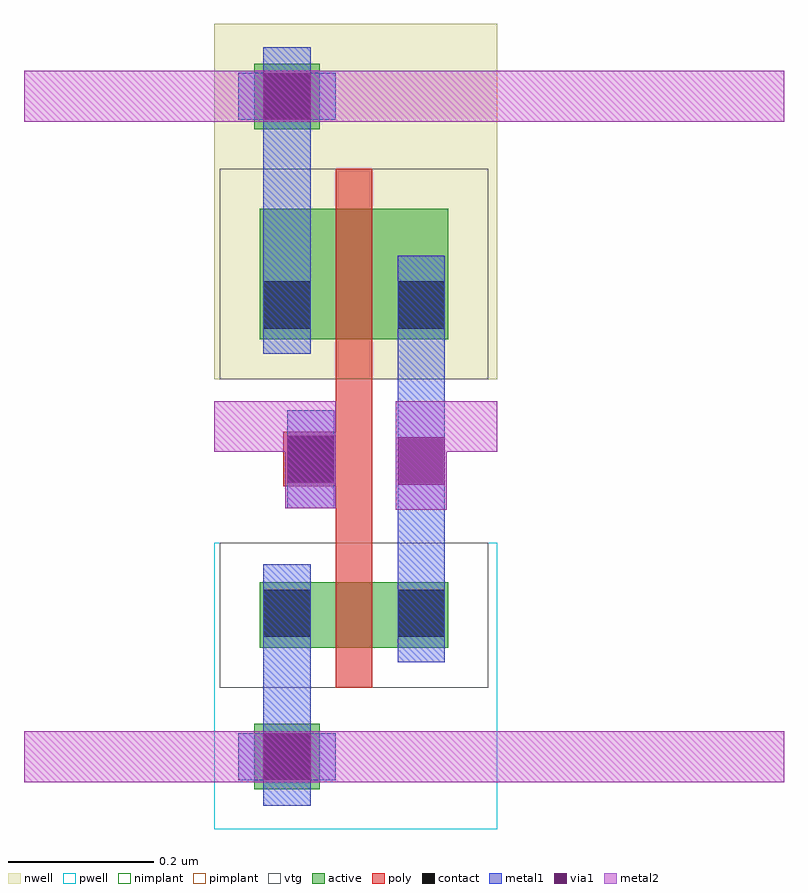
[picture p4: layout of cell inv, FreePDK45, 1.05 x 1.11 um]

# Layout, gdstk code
import gdstk
lib = gdstk.Library(unit=1e-6, precision=5e-10)
def R(c, l, rs):  # rectangles x0, y0, x1, y1
    for r in rs: c.add(gdstk.rectangle(r[:2], r[2:], *l))
active = (1, 0)
pwell = (2, 0)
nwell = (3, 0)
nimplant = (4, 0)
pimplant = (5, 0)
vtg = (6, 0)
poly = (9, 0)
contact = (10, 0)
metal1 = (11, 0)
via1 = (12, 0)
metal2 = (13, 0)

pcont_0 = lib.new_cell('pcont_0')
R(pcont_0, poly, [(-0.0375,-0.0375,0.0375,0.0375)])
R(pcont_0, contact, [(-0.0325,-0.0325,0.0325,0.0325)])
R(pcont_0, metal1, [(-0.0325,-0.0675,0.0325,0.0675)])

m2_m1_viab = lib.new_cell('M2_M1_viaB')
R(m2_m1_viab, metal1, [(-0.0675,-0.0325,0.0675,0.0325)])
R(m2_m1_viab, via1, [(-0.0325,-0.0325,0.0325,0.0325)])
R(m2_m1_viab, metal2, [(-0.0675,-0.035,0.0675,0.035)])

m2_m1_viac = lib.new_cell('M2_M1_viaC')
R(m2_m1_viac, metal1, [(-0.0325,-0.0675,0.0325,0.0675)])
R(m2_m1_viac, via1, [(-0.0325,-0.0325,0.0325,0.0325)])
R(m2_m1_viac, metal2, [(-0.035,-0.0675,0.035,0.0675)])

dcont_28 = lib.new_cell('dcont_28')
R(dcont_28, active, [(-0.0375,0.03,0.0375,0.105)])
R(dcont_28, contact, [(-0.0325,0.035,0.0325,0.1)])
R(dcont_28, metal1, [(-0.0325,0,0.0325,0.135)])

pmos_vtg_1 = lib.new_cell('pmos_vtg_1')
R(pmos_vtg_1, active, [(-0.105,0,0.155,0.18), (-0.105,0,-0.03,0.18), (0.08,0,0.155,0.18), (-0.105,0.01,-0.03,0.085), (0.08,0.01,0.155,0.085)])
R(pmos_vtg_1, nwell, [(-0.16,-0.055,0.21,0.235)])
R(pmos_vtg_1, pimplant, [(-0.105,0,0.155,0.18)])
R(pmos_vtg_1, vtg, [(-0.16,-0.055,0.21,0.235)])
R(pmos_vtg_1, poly, [(0,-0.055,0.05,0), (0,-0.055,0.05,0.235), (0,0.18,0.05,0.235)])
pmos_vtg_1.add(gdstk.Reference(dcont_28, (0.1175,-0.02)))
pmos_vtg_1.add(gdstk.Reference(dcont_28, (-0.0675,-0.02)))
pmos_vtg_1.add(gdstk.Label('l = 0.05', (0.06,0.09), layer=239, texttype=0))
pmos_vtg_1.add(gdstk.Label('w = 0.18', (0.025,0.245), layer=239, texttype=0))

nmos_vtg_2 = lib.new_cell('nmos_vtg_2')
R(nmos_vtg_2, active, [(-0.105,0,0.155,0.09), (-0.105,0,-0.03,0.09), (0.08,0,0.155,0.09), (-0.105,0.01,-0.03,0.085), (0.08,0.01,0.155,0.085)])
R(nmos_vtg_2, pwell, [(-0.16,-0.055,0.21,0.145)])
R(nmos_vtg_2, nimplant, [(-0.105,0,0.155,0.09)])
R(nmos_vtg_2, vtg, [(-0.16,-0.055,0.21,0.145)])
R(nmos_vtg_2, poly, [(0,-0.055,0.05,0), (0,-0.055,0.05,0.145), (0,0.09,0.05,0.145)])
nmos_vtg_2.add(gdstk.Reference(dcont_28, (0.1175,-0.02)))
nmos_vtg_2.add(gdstk.Reference(dcont_28, (-0.0675,-0.02)))
nmos_vtg_2.add(gdstk.Label('l = 0.05', (0.06,0.045), layer=239, texttype=0))
nmos_vtg_2.add(gdstk.Label('w = 0.09', (0.025,0.155), layer=239, texttype=0))

ntap_0 = lib.new_cell('NTAP_0')
R(ntap_0, active, [(-0.045,-0.045,0.045,0.045)])
R(ntap_0, nwell, [(-0.1,-0.1,0.1,0.1)])
R(ntap_0, nimplant, [(-0.045,-0.045,0.045,0.045)])
R(ntap_0, contact, [(-0.0325,-0.0325,0.0325,0.0325)])
R(ntap_0, metal1, [(-0.0325,-0.0675,0.0325,0.0675)])

ptap_1 = lib.new_cell('PTAP_1')
R(ptap_1, active, [(-0.045,-0.045,0.045,0.045)])
R(ptap_1, pwell, [(-0.1,-0.1,0.1,0.1)])
R(ptap_1, pimplant, [(-0.045,-0.045,0.045,0.045)])
R(ptap_1, contact, [(-0.0325,-0.0325,0.0325,0.0325)])
R(ptap_1, metal1, [(-0.0325,-0.0675,0.0325,0.0675)])

inv = lib.new_cell('inv')
R(inv, pwell, [(-0.005,-0.1,0.385,0.295)])
R(inv, nwell, [(-0.005,0.52,0.385,1.01)])
R(inv, poly, [(0.1625,0.295,0.2125,0.5225), (0.09,0.375,0.1625,0.445)])
R(inv, metal1, [(0.0625,0.005,0.1275,0.14), (0.2475,0.26,0.3125,0.5675), (0.0625,0.6775,0.1275,0.9025)])
R(inv, metal2, [(-0.2675,-0.035,0.78,0.035), (-0.005,0.42,0.1625,0.49), (0.245,0.42,0.385,0.49), (-0.2675,0.875,0.78,0.945), (-0.005,0.875,0.385,0.945)])
inv.add(gdstk.Reference(pcont_0, (0.1275,0.41)))
inv.add(gdstk.Reference(m2_m1_viab, (0.095,0.91)))
inv.add(gdstk.Reference(m2_m1_viab, (0.095,0)))
inv.add(gdstk.Reference(m2_m1_viac, (0.1275,0.41)))
inv.add(gdstk.Reference(m2_m1_viac, (0.28,0.4075)))
inv.add(gdstk.Reference(pmos_vtg_1, (0.1625,0.575)))
inv.add(gdstk.Reference(nmos_vtg_2, (0.1625,0.15)))
inv.add(gdstk.Reference(ntap_0, (0.095,0.91)))
inv.add(gdstk.Reference(ptap_1, (0.095,0)))

lib.write_gds('inv.gds')
